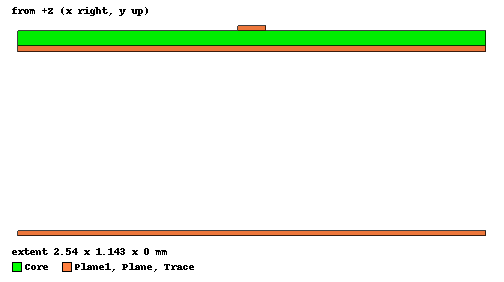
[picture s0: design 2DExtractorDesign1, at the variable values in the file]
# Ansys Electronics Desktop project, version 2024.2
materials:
  vacuum: permittivity=1
  copper: permeability=0.999991 conductivity=58000000
  die_38: permittivity=3.8 dielectric_loss_tangent=0.02

design 2DExtractorDesign1 (2D Extractor, Open, model units mm)
options: LumpedLength=1in RiseTime=1ns DistribLengthUnits=in Calculate_Lossy_Dielectrics
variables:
  wp = 100mil
  wt = 6mil
  sub = 3.24mil
  T = 1.2mil
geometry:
  Plane [copper] = rectangle(corner=(-wp/2, 0mm, 0mm), x_size=wp, y_size=T)
  Core [die_38] = rectangle(corner=(-wp/2, T, 0mm), x_size=wp, y_size=sub)
  Trace [copper] = rectangle(corner=(-wt/2, T +sub, 0mm), x_size=wt, y_size=T)
  Plane1 [copper] = rectangle(corner=(-wp/2, -1mm, 0mm), x_size=wp, y_size=T)
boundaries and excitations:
  Trace: SignalLine Objects=Trace SolveOption=SolveInside Thickness=-1000mm
  Plane1: ReferenceGround Objects=Plane1 SolveOption=SolveInside Thickness=-1000mm
  Plane: NonIdealGround Objects=Plane SolveOption=SolveInside Thickness=-1000mm
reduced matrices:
  SetReferenceGroundMatrix: Operations{op(SetReferenceGround1, 0, "SetReferenceGround(SelectionArray[1: 8], OverrideInfo())")}
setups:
  Setup1: 2DMatrix AdaptiveFreq=1GHz SaveFields CGDataBlock{MaxPass=50 MinPass=1 MinConvPass=2 PerError=1 PerRefine=30 Included PerErrorParamConv=1} RLDataBlock{MaxPass=50 MinPass=1 MinConvPass=2 PerError=1 PerRefine=30 Included PerErrorParamConv=1}
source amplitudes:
  Trace: CG Fields 1V 0deg
  Plane: CG Fields 0V 0deg
  Trace: RL Fields 1A 0deg
  Plane: RL Fields 0A 0deg
